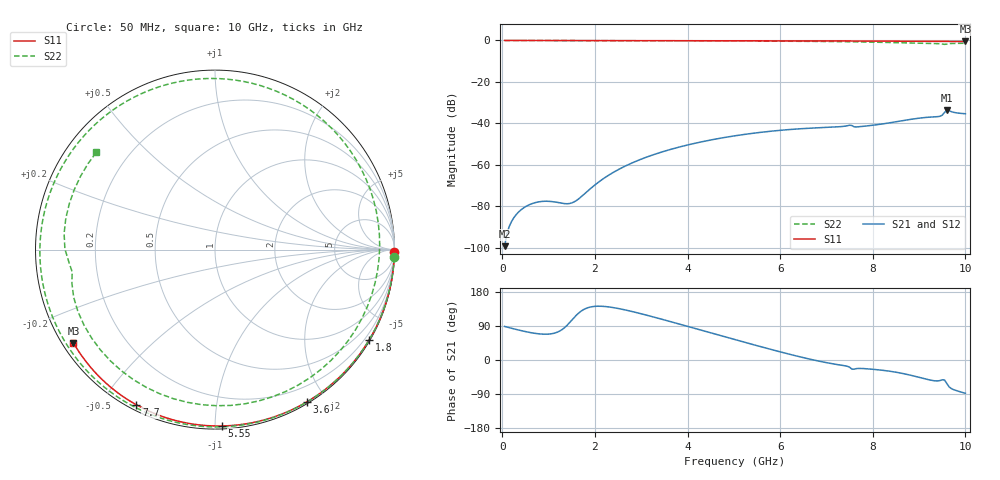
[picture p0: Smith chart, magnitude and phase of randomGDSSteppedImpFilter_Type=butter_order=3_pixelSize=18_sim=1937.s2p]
! freq	dB(S11)	phase(S11)	dB(S12)	phase(S12)
!  dB(S21)	phase(S21)	dB(S22)	phase(S22)
!S-par simulation data
#  GHz  S  DB  R 50
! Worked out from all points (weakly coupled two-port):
!   200 points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, 50 MHz to 10 GHz, reference 50 ohm
!   highest |S21| = -33.70 dB at 9.6 GHz (marker M1); lowest = -99.2 dB at 50 MHz (marker M2)
!   lowest |S11| = -0.5 dB at 10 GHz (marker M3), VSWR 35.10, Z = 1.55 - j15 ohm
!   |S11| at or under -10 dB: nowhere
!   |S22| runs from -1.9 to 0.0 dB; largest |S21 - S12| = 0
!   S11 on the Smith chart (normalised r, x): 50 MHz: open; 1.8 GHz: 0.03, -3.70; 3.6 GHz: 0.02, -1.77; 5.55 GHz: 0.02, -1.04; 7.7 GHz: 0.02, -0.61; 10 GHz: 0.03, -0.30
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0.05  -0.00 -0.9  -99.24 88.5  -99.24 88.5  -0.00 -2.4
0.95  -0.02 -16.1  -77.56 68.1  -77.56 68.1  -0.06 -44.7
1.45  -0.03 -24.5  -78.67 98.1  -78.67 98.1  -0.08 -67.0
1.75  -0.04 -29.4  -74.51 132.7  -74.51 132.7  -0.09 -79.7
1.8  -0.04 -30.2  -73.52 135.7  -73.52 135.7  -0.10 -81.8
2.5  -0.05 -41.6  -62.36 136.0  -62.36 136.0  -0.12 -109.9
3.4  -0.07 -55.9  -54.12 109.1  -54.12 109.1  -0.16 -143.3
3.6  -0.08 -58.9  -52.77 102.4  -52.77 102.4  -0.17 -150.6
4.35  -0.10 -70.3  -48.69 76.8  -48.69 76.8  -0.21 -177.6
5.05  -0.12 -80.6  -45.91 52.9  -45.91 52.9  -0.26 156.2
5.55  -0.14 -87.7  -44.40 36.2  -44.40 36.2  -0.30 136.0
6.2  -0.17 -96.8  -42.97 15.2  -42.97 15.2  -0.37 106.5
6.7  -0.20 -103.6  -42.26 0.6  -42.26 0.6  -0.44 80.3
7.2  -0.23 -110.3  -41.73 -11.4  -41.73 -11.4  -0.55 49.6
7.7  -0.27 -116.8  -41.63 -22.2  -41.63 -22.2  -0.69 13.3
8.05  -0.30 -121.4  -40.77 -25.1  -40.77 -25.1  -0.83 -16.0
8.35  -0.32 -125.3  -39.79 -29.3  -39.79 -29.3  -0.98 -43.8
8.65  -0.35 -129.2  -38.67 -35.7  -38.67 -35.7  -1.13 -73.8
8.95  -0.38 -133.1  -37.64 -44.2  -37.64 -44.2  -1.29 -105.6
9.3  -0.42 -137.6  -36.89 -54.3  -36.89 -54.3  -1.46 -144.4
9.6  -0.45 -141.4  -33.70 -62.2  -33.70 -62.2  -1.76 -174.9
10  -0.50 -146.6  -35.35 -87.9  -35.35 -87.9  -1.36 140.6
